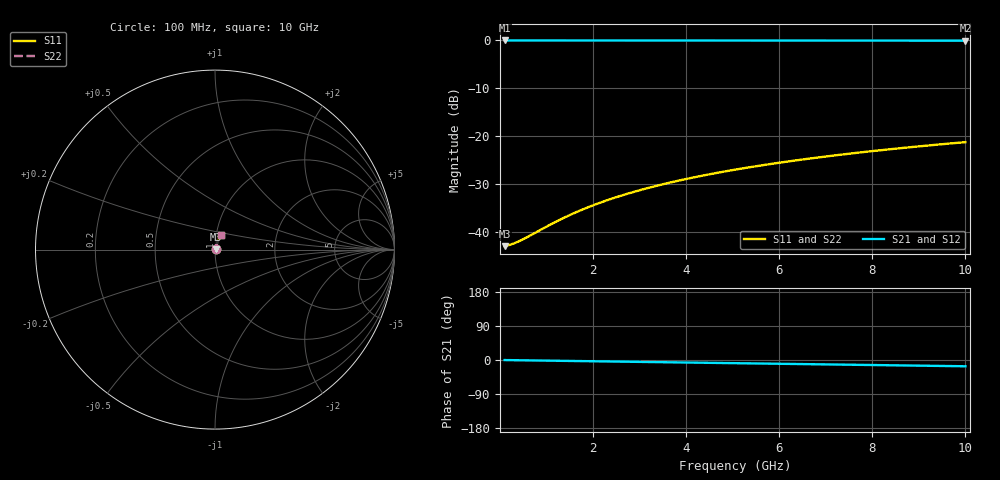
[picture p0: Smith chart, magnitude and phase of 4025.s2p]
# Hz S RI R 50.00
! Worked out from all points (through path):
!   100 points, 100 MHz to 10 GHz, reference 50 ohm
!   highest |S21| = -0.06 dB at 100 MHz (marker M1); lowest = -0.1 dB at 10 GHz (marker M2)
!   group delay of S21, straight-line fit = 4.6 ps
!   lowest |S11| = -42.9 dB at 100 MHz (marker M3), VSWR 1.01, Z = 50.7 + j0.0871 ohm
!   |S11| at or under -10 dB: start of sweep to end of sweep
!   |S22| runs from -42.9 to -21.2 dB; largest |S21 - S12| = 0
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1e8  0.00711 0.000858  0.9929 -0.00288  0.9929 -0.00288  0.00711 0.000858
2e8  0.00717 0.00172  0.9928 -0.00575  0.9928 -0.00575  0.00717 0.00172
3e8  0.00721 0.00257  0.9928 -0.00863  0.9928 -0.00863  0.00721 0.00257
4e8  0.00726 0.00343  0.9927 -0.0115  0.9927 -0.0115  0.00726 0.00343
6e8  0.00735 0.00515  0.9926 -0.0173  0.9926 -0.0173  0.00735 0.00515
1e9  0.00758 0.00857  0.9922 -0.0287  0.9922 -0.0287  0.00758 0.00857
1.3e9  0.00779 0.0111  0.9918 -0.0374  0.9918 -0.0374  0.00779 0.0111
1.5e9  0.00795 0.0128  0.9916 -0.0431  0.9916 -0.0431  0.00795 0.0128
1.8e9  0.00823 0.0154  0.9911 -0.0517  0.9911 -0.0517  0.00823 0.0154
2.1e9  0.00854 0.018  0.9905 -0.0603  0.9905 -0.0603  0.00854 0.018
2.5e9  0.00904 0.0213  0.9896 -0.0718  0.9896 -0.0718  0.00904 0.0213
2.9e9  0.0096 0.0247  0.9886 -0.0832  0.9886 -0.0832  0.0096 0.0247
3.4e9  0.0104 0.0289  0.9872 -0.0975  0.9872 -0.0975  0.0104 0.0289
3.8e9  0.0112 0.0323  0.9858 -0.1089  0.9858 -0.1089  0.0112 0.0323
4.2e9  0.012 0.0356  0.9843 -0.1203  0.9843 -0.1203  0.012 0.0356
4.6e9  0.0129 0.0389  0.9827 -0.1317  0.9827 -0.1317  0.0129 0.0389
5.1e9  0.0141 0.043  0.9805 -0.1458  0.9805 -0.1458  0.0141 0.043
5.9e9  0.0163 0.0495  0.9765 -0.1684  0.9765 -0.1684  0.0163 0.0495
6.7e9  0.0188 0.0558  0.9719 -0.1908  0.9719 -0.1908  0.0188 0.0558
7.5e9  0.0216 0.0621  0.9668 -0.2131  0.9668 -0.2131  0.0216 0.0621
8.4e9  0.025 0.0689  0.9604 -0.238  0.9604 -0.238  0.025 0.0689
1e10  0.0321 0.0806  0.9473 -0.2817  0.9473 -0.2817  0.0321 0.0806
